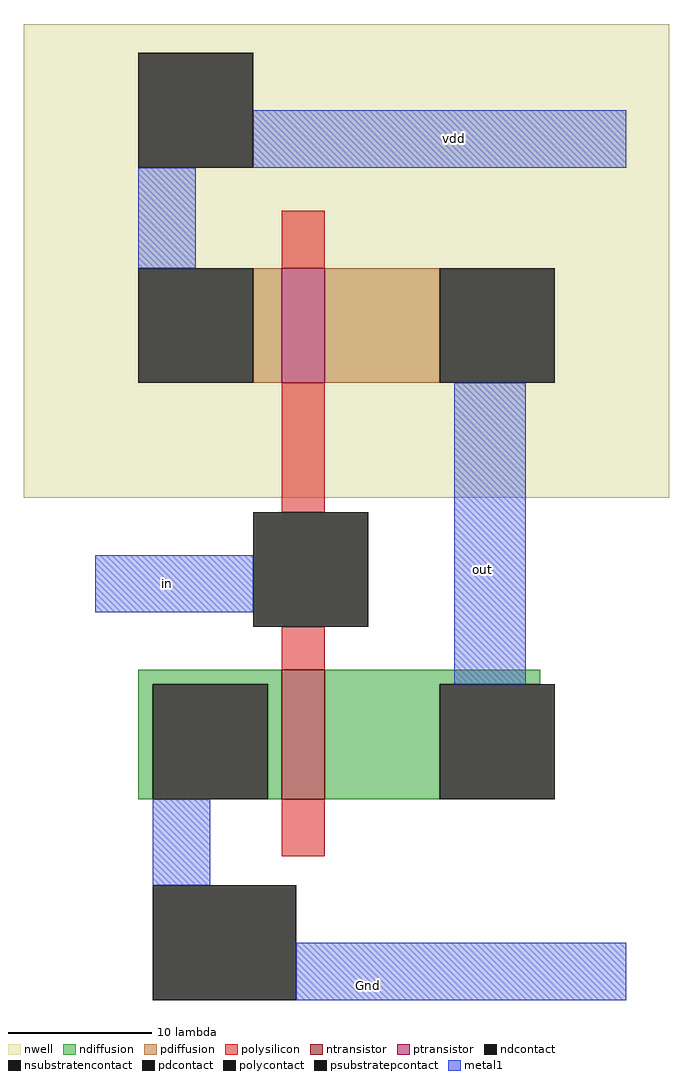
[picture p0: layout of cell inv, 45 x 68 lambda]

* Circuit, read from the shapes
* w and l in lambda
.subckt inv Gnd in out vdd
M1 out in Gnd Gnd nfet w=9 l=3
M2 out in vdd vdd pfet w=8 l=3
.ends

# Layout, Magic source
magic
tech tsmc
<< nwell >>
rect -13 3 32 36
<< ntransistor >>
rect 5 -18 8 -9
<< ptransistor >>
rect 5 11 8 19
<< ndiffusion >>
rect -5 -10 5 -9
rect -5 -18 -4 -10
rect 4 -18 5 -10
rect 8 -10 23 -9
rect 8 -18 16 -10
<< pdiffusion >>
rect 3 11 5 19
rect 8 11 16 19
<< ndcontact >>
rect -4 -18 4 -10
rect 16 -18 24 -10
<< pdcontact >>
rect -5 11 3 19
rect 16 11 24 19
<< psubstratepcontact >>
rect -4 -32 6 -24
<< nsubstratencontact >>
rect -5 26 3 34
<< polysilicon >>
rect 5 19 8 23
rect 5 2 8 11
rect 5 -9 8 -6
rect 5 -22 8 -18
<< polycontact >>
rect 3 -6 11 2
<< metal1 >>
rect 3 26 29 30
rect -5 19 -1 26
rect -8 -5 3 -1
rect 17 -10 22 11
rect -4 -24 0 -18
rect 6 -32 29 -28
<< labels >>
rlabel metal1 17 28 17 28 1 vdd
rlabel metal1 -3 -3 -3 -3 1 in
rlabel metal1 19 -2 19 -2 1 out
rlabel metal1 11 -31 11 -31 1 Gnd
<< end >>
